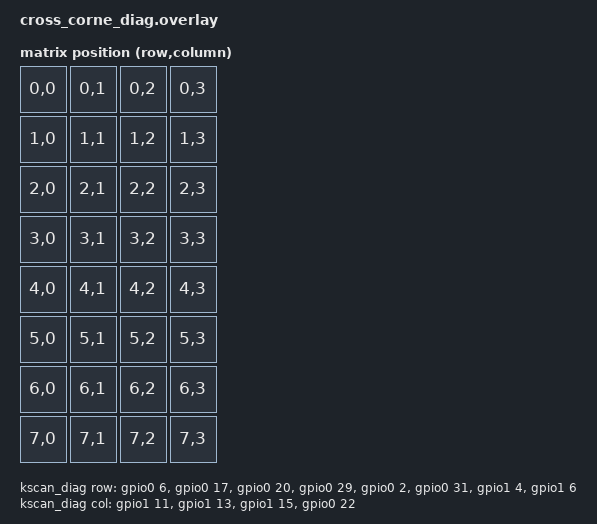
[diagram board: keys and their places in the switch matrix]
/*
 * GPIO Diagnostic Shield — right side only, standalone (no split).
 *
 * 8 row candidates × 4 col candidates = 32 positions → unique chars '0'-'9','a'-'v'
 *
 * Row candidates (index 0-7):
 *   0: gpio0 6   (D0/TX  — never tried)
 *   1: gpio0 17  (D2     — never tried)
 *   2: gpio0 20  (D3     — never tried)
 *   3: gpio0 29  (D19    — CONFIRMED working row)
 *   4: gpio0 2   (D18    — tried, failed)
 *   5: gpio0 31  (D20    — tried, failed)
 *   6: gpio1 4   (D8     — never tried)
 *   7: gpio1 6   (D9     — never tried)
 *
 * Col candidates (index 0-3):
 *   0: gpio1 11  (D14 — CONFIRMED working col, innermost)
 *   1: gpio1 13  (D15 — CONFIRMED working col)
 *   2: gpio1 15  (D16 — CONFIRMED working col)
 *   3: gpio0 22  (D4  — tried as col, failed — trying again)
 *
 * Position = row_idx * 4 + col_idx
 * char: pos 0-9 → '0'-'9', pos 10-31 → 'a'-'v'
 *
 * With confirmed gpio0 29 (row 3) + gpio1 11 (col 0) → pos 12 → 'c'
 * With confirmed gpio0 29 (row 3) + gpio1 13 (col 1) → pos 13 → 'd'
 * With confirmed gpio0 29 (row 3) + gpio1 15 (col 2) → pos 14 → 'e'
 */

#include <dt-bindings/zmk/matrix_transform.h>

/ {
    chosen {
        zmk,kscan = &kscan_diag;
        zmk,matrix_transform = &diag_transform;
    };

    diag_transform: keymap_transform_diag {
        compatible = "zmk,matrix-transform";
        columns = <4>;
        rows = <8>;
        map = <
            RC(0,0) RC(0,1) RC(0,2) RC(0,3)
            RC(1,0) RC(1,1) RC(1,2) RC(1,3)
            RC(2,0) RC(2,1) RC(2,2) RC(2,3)
            RC(3,0) RC(3,1) RC(3,2) RC(3,3)
            RC(4,0) RC(4,1) RC(4,2) RC(4,3)
            RC(5,0) RC(5,1) RC(5,2) RC(5,3)
            RC(6,0) RC(6,1) RC(6,2) RC(6,3)
            RC(7,0) RC(7,1) RC(7,2) RC(7,3)
        >;
    };

    kscan_diag: kscan {
        compatible = "zmk,kscan-gpio-matrix";
        diode-direction = "row2col";

        row-gpios
            = <&gpio0 6  GPIO_ACTIVE_HIGH>
            , <&gpio0 17 GPIO_ACTIVE_HIGH>
            , <&gpio0 20 GPIO_ACTIVE_HIGH>
            , <&gpio0 29 GPIO_ACTIVE_HIGH>
            , <&gpio0 2  GPIO_ACTIVE_HIGH>
            , <&gpio0 31 GPIO_ACTIVE_HIGH>
            , <&gpio1 4  GPIO_ACTIVE_HIGH>
            , <&gpio1 6  GPIO_ACTIVE_HIGH>
            ;

        col-gpios
            = <&gpio1 11 (GPIO_ACTIVE_HIGH | GPIO_PULL_DOWN)>
            , <&gpio1 13 (GPIO_ACTIVE_HIGH | GPIO_PULL_DOWN)>
            , <&gpio1 15 (GPIO_ACTIVE_HIGH | GPIO_PULL_DOWN)>
            , <&gpio0 22 (GPIO_ACTIVE_HIGH | GPIO_PULL_DOWN)>
            ;
    };
};
